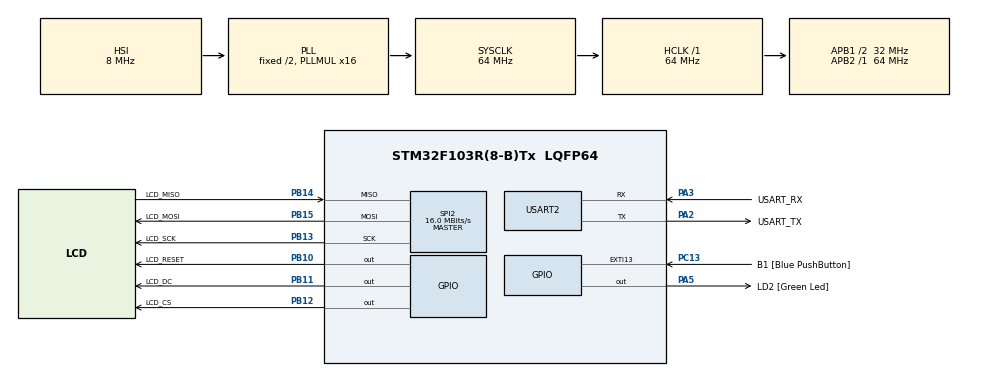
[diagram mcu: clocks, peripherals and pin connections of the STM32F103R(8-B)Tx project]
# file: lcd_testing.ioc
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Dma.Request0=SPI2_RX
Dma.Request1=SPI2_TX
Dma.SPI2_RX.0.Direction=DMA_PERIPH_TO_MEMORY
Dma.SPI2_RX.0.Instance=DMA1_Channel4
Dma.SPI2_RX.0.MemDataAlignment=DMA_MDATAALIGN_BYTE
Dma.SPI2_RX.0.MemInc=DMA_MINC_ENABLE
Dma.SPI2_RX.0.Mode=DMA_NORMAL
Dma.SPI2_RX.0.PeriphDataAlignment=DMA_PDATAALIGN_BYTE
Dma.SPI2_RX.0.PeriphInc=DMA_PINC_DISABLE
Dma.SPI2_RX.0.Priority=DMA_PRIORITY_MEDIUM
Dma.SPI2_TX.1.Direction=DMA_MEMORY_TO_PERIPH
Dma.SPI2_TX.1.Instance=DMA1_Channel5
Dma.SPI2_TX.1.MemDataAlignment=DMA_MDATAALIGN_BYTE
Dma.SPI2_TX.1.MemInc=DMA_MINC_ENABLE
Dma.SPI2_TX.1.Mode=DMA_NORMAL
Dma.SPI2_TX.1.PeriphDataAlignment=DMA_PDATAALIGN_BYTE
Dma.SPI2_TX.1.PeriphInc=DMA_PINC_DISABLE
Dma.SPI2_TX.1.Priority=DMA_PRIORITY_MEDIUM
Mcu.Family=STM32F1
Mcu.Name=STM32F103R(8-B)Tx
Mcu.Package=LQFP64
NVIC.DMA1_Channel4_IRQn=true\:0\:0\:false\:false\:true\:false\:true\:true
NVIC.DMA1_Channel5_IRQn=true\:0\:0\:false\:false\:true\:false\:true\:true
NVIC.EXTI15_10_IRQn=true\:0\:0\:false\:false\:true\:true\:true\:true
NVIC.PriorityGroup=NVIC_PRIORITYGROUP_4
PA13.GPIO_Label=TMS
PA13.Mode=Serial_Wire
PA13.Signal=SYS_JTMS-SWDIO
PA14.GPIO_Label=TCK
PA14.Mode=Serial_Wire
PA14.Signal=SYS_JTCK-SWCLK
PA2.GPIO_Label=USART_TX
PA2.GPIO_Mode=GPIO_MODE_AF_PP
PA2.GPIO_PuPd=GPIO_NOPULL
PA2.GPIO_Speed=GPIO_SPEED_FREQ_LOW
PA2.Mode=Asynchronous
PA2.Signal=USART2_TX
PA3.GPIO_Label=USART_RX
PA3.GPIO_Mode=GPIO_MODE_AF_PP
PA3.GPIO_PuPd=GPIO_NOPULL
PA3.GPIO_Speed=GPIO_SPEED_FREQ_LOW
PA3.Mode=Asynchronous
PA3.Signal=USART2_RX
PA5.GPIO_Label=LD2 [Green Led]
PA5.GPIO_ModeDefaultOutputPP=GPIO_MODE_OUTPUT_PP
PA5.GPIO_PuPd=GPIO_NOPULL
PA5.GPIO_Speed=GPIO_SPEED_FREQ_LOW
PA5.Signal=GPIO_Output
PB10.GPIO_Label=LCD_RESET
PB10.Signal=GPIO_Output
PB11.GPIO_Label=LCD_DC
PB11.Signal=GPIO_Output
PB12.GPIO_Label=LCD_CS
PB12.Signal=GPIO_Output
PB13.GPIO_Label=LCD_SCK
PB13.Mode=Full_Duplex_Master
PB13.Signal=SPI2_SCK
PB14.GPIO_Label=LCD_MISO
PB14.Mode=Full_Duplex_Master
PB14.Signal=SPI2_MISO
PB15.GPIO_Label=LCD_MOSI
PB15.Mode=Full_Duplex_Master
PB15.Signal=SPI2_MOSI
PB3.GPIO_Label=SWO
PB3.Signal=SYS_JTDO-TRACESWO
PC13-TAMPER-RTC.GPIO_Label=B1 [Blue PushButton]
PC13-TAMPER-RTC.GPIO_PuPd=GPIO_NOPULL
PC13-TAMPER-RTC.Signal=GPXTI13
PC14-OSC32_IN.Mode=LSE-External-Oscillator
PC14-OSC32_IN.Signal=RCC_OSC32_IN
PC15-OSC32_OUT.Mode=LSE-External-Oscillator
PC15-OSC32_OUT.Signal=RCC_OSC32_OUT
PD0-OSC_IN.Mode=HSE-External-Clock-Source
PD0-OSC_IN.Signal=RCC_OSC_IN
PD1-OSC_OUT.Mode=HSE-External-Clock-Source
PD1-OSC_OUT.Signal=RCC_OSC_OUT
ProjectManager.HeapSize=0x200
ProjectManager.StackSize=0x400
ProjectManager.TargetToolchain=STM32CubeIDE
RCC.AHBFreq_Value=64000000
RCC.APB1CLKDivider=RCC_HCLK_DIV2
RCC.APB1Freq_Value=32000000
RCC.APB1TimFreq_Value=64000000
RCC.APB2Freq_Value=64000000
RCC.APB2TimFreq_Value=64000000
RCC.HCLKFreq_Value=64000000
RCC.PLLMUL=RCC_PLL_MUL16
RCC.RTCClockSelection=RCC_RTCCLKSOURCE_LSE
RCC.SYSCLKFreq_VALUE=64000000
RCC.SYSCLKSource=RCC_SYSCLKSOURCE_PLLCLK
RCC.USBFreq_Value=64000000
SPI2.CalculateBaudRate=16.0 MBits/s
SPI2.Direction=SPI_DIRECTION_2LINES
SPI2.Mode=SPI_MODE_MASTER
SPI2.VirtualType=VM_MASTER
USART2.VirtualMode=VM_ASYNC
board=NUCLEO-F103RB

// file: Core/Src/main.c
/* USER CODE BEGIN Header */
/**
  ******************************************************************************
  * @file           : main.c
  * @brief          : Main program body
  ******************************************************************************
  * @attention
  *
  * Copyright (c) 2022 STMicroelectronics.
  * All rights reserved.
  *
  * This software is licensed under terms that can be found in the LICENSE file
  * in the root directory of this software component.
  * If no LICENSE file comes with this software, it is provided AS-IS.
  *
  ******************************************************************************
  */
/* USER CODE END Header */
#include "main.h"
#include "lcd_api.h"
#include "bmp.h"

 SPI_HandleTypeDef hspi2;
DMA_HandleTypeDef hdma_spi2_rx;
DMA_HandleTypeDef hdma_spi2_tx;

UART_HandleTypeDef huart2;

void SystemClock_Config(void);
static void MX_GPIO_Init(void);
static void MX_DMA_Init(void);
static void MX_USART2_UART_Init(void);
static void MX_SPI2_Init(void);

/* USER CODE BEGIN 0 */

extern const BITMAPSTRUCT back_icon;
extern const BITMAPSTRUCT batt_error_icon;
extern const BITMAPSTRUCT batt_warning_icon;
extern const BITMAPSTRUCT battery_icon;
extern const BITMAPSTRUCT drawers_icon;
extern const BITMAPSTRUCT enable_icon;
extern const BITMAPSTRUCT play_icon;
extern const BITMAPSTRUCT recording_icon;
extern const BITMAPSTRUCT thermostat_icon;
extern const BITMAPSTRUCT trash_icon;
/* USER CODE END 0 */

int main(void)
{

  /* MCU Configuration--------------------------------------------------------*/

  /* Reset of all peripherals, Initializes the Flash interface and the Systick. */
  HAL_Init();

  /* Configure the system clock */
  SystemClock_Config();

  /* Initialize all configured peripherals */
  MX_GPIO_Init();
  MX_DMA_Init();
  MX_USART2_UART_Init();
  MX_SPI2_Init();

  BSP_LCD_Init();
  /* USER CODE BEGIN 2 */

//  BSP_LCD_SetBackColor(0x55AA);
  // BSP_LCD_SetFont(&Font24);
  // BSP_LCD_DisplayStringAt(0, 0, "Hello LCD!", CENTER_MODE);

//  BSP_LCD_SetBackColor(LCD_COLOR_WHITE);
//  BSP_LCD_FillRect(0,0, BSP_LCD_GetXSize(), BSP_LCD_GetYSize());

  //BSP_LCD_DrawRect(BSP_LCD_GetXSize()/2, BSP_LCD_GetYSize()/2, battery_icon.infoHeader.biWidth + 2, battery_icon.infoHeader.biHeight + 2);
//  BSP_LCD_DrawHLine(BSP_LCD_GetXSize()/2 + 1, BSP_LCD_GetYSize()/2 + battery_icon.infoHeader.biHeight +1, battery_icon.infoHeader.biWidth);
//  BSP_LCD_DrawBitmap(BSP_LCD_GetXSize()/2 + 1 , BSP_LCD_GetYSize()/2 + 1, (uint8_t*)&battery_icon);

//  BSP_LCD_DrawBitmap(0  , 0, (uint8_t*)&back_icon);
//  HAL_Delay(1000);
  BSP_LCD_DrawBitmap(0  , 0, (uint8_t*)&batt_error_icon);
  HAL_Delay(1000);
  BSP_LCD_DrawBitmap(0  , 0, (uint8_t*)&batt_warning_icon);
  HAL_Delay(1000);
  BSP_LCD_DrawBitmap(0  , 0, (uint8_t*)&battery_icon);
  HAL_Delay(1000);
//  BSP_LCD_DrawBitmap(0  , 0, (uint8_t*)&drawers_icon);
//  HAL_Delay(1000);
  BSP_LCD_DrawBitmap(0  , 0, (uint8_t*)&enable_icon);
  HAL_Delay(1000);
  BSP_LCD_DrawBitmap(0  , 0, (uint8_t*)&play_icon);
  HAL_Delay(1000);
  BSP_LCD_DrawBitmap(0  , 0, (uint8_t*)&recording_icon);
  HAL_Delay(1000);
  BSP_LCD_DrawBitmap(0  , 0, (uint8_t*)&thermostat_icon);
  HAL_Delay(1000);
  BSP_LCD_DrawBitmap(0  , 0, (uint8_t*)&trash_icon);
  HAL_Delay(1000);

  /* USER CODE END 2 */

  /* Infinite loop */
  while (1)
  {

  }
}

void SystemClock_Config(void)
{
  RCC_OscInitTypeDef RCC_OscInitStruct = {0};
  RCC_ClkInitTypeDef RCC_ClkInitStruct = {0};

  /** Initializes the RCC Oscillators according to the specified parameters
  * in the RCC_OscInitTypeDef structure.
  */
  RCC_OscInitStruct.OscillatorType = RCC_OSCILLATORTYPE_HSI;
  RCC_OscInitStruct.HSIState = RCC_HSI_ON;
  RCC_OscInitStruct.HSICalibrationValue = RCC_HSICALIBRATION_DEFAULT;
  RCC_OscInitStruct.PLL.PLLState = RCC_PLL_ON;
  RCC_OscInitStruct.PLL.PLLSource = RCC_PLLSOURCE_HSI_DIV2;
  RCC_OscInitStruct.PLL.PLLMUL = RCC_PLL_MUL16;
  if (HAL_RCC_OscConfig(&RCC_OscInitStruct) != HAL_OK)
  {
    Error_Handler();
  }

  /** Initializes the CPU, AHB and APB buses clocks
  */
  RCC_ClkInitStruct.ClockType = RCC_CLOCKTYPE_HCLK|RCC_CLOCKTYPE_SYSCLK
                              |RCC_CLOCKTYPE_PCLK1|RCC_CLOCKTYPE_PCLK2;
  RCC_ClkInitStruct.SYSCLKSource = RCC_SYSCLKSOURCE_PLLCLK;
  RCC_ClkInitStruct.AHBCLKDivider = RCC_SYSCLK_DIV1;
  RCC_ClkInitStruct.APB1CLKDivider = RCC_HCLK_DIV2;
  RCC_ClkInitStruct.APB2CLKDivider = RCC_HCLK_DIV1;

  if (HAL_RCC_ClockConfig(&RCC_ClkInitStruct, FLASH_LATENCY_2) != HAL_OK)
  {
    Error_Handler();
  }
}

static void MX_SPI2_Init(void)
{

  /* SPI2 parameter configuration*/
  hspi2.Instance = SPI2;
  hspi2.Init.Mode = SPI_MODE_MASTER;
  hspi2.Init.Direction = SPI_DIRECTION_2LINES;
  hspi2.Init.DataSize = SPI_DATASIZE_8BIT;
  hspi2.Init.CLKPolarity = SPI_POLARITY_LOW;
  hspi2.Init.CLKPhase = SPI_PHASE_1EDGE;
  hspi2.Init.NSS = SPI_NSS_SOFT;
  hspi2.Init.BaudRatePrescaler = SPI_BAUDRATEPRESCALER_2;
  hspi2.Init.FirstBit = SPI_FIRSTBIT_MSB;
  hspi2.Init.TIMode = SPI_TIMODE_DISABLE;
  hspi2.Init.CRCCalculation = SPI_CRCCALCULATION_DISABLE;
  hspi2.Init.CRCPolynomial = 10;
  if (HAL_SPI_Init(&hspi2) != HAL_OK)
  {
    Error_Handler();
  }

}

static void MX_USART2_UART_Init(void)
{

  huart2.Instance = USART2;
  huart2.Init.BaudRate = 115200;
  huart2.Init.WordLength = UART_WORDLENGTH_8B;
  huart2.Init.StopBits = UART_STOPBITS_1;
  huart2.Init.Parity = UART_PARITY_NONE;
  huart2.Init.Mode = UART_MODE_TX_RX;
  huart2.Init.HwFlowCtl = UART_HWCONTROL_NONE;
  huart2.Init.OverSampling = UART_OVERSAMPLING_16;
  if (HAL_UART_Init(&huart2) != HAL_OK)
  {
    Error_Handler();
  }

}

static void MX_DMA_Init(void)
{

  /* DMA controller clock enable */
  __HAL_RCC_DMA1_CLK_ENABLE();

  /* DMA interrupt init */
  /* DMA1_Channel4_IRQn interrupt configuration */
  HAL_NVIC_SetPriority(DMA1_Channel4_IRQn, 0, 0);
  HAL_NVIC_EnableIRQ(DMA1_Channel4_IRQn);
  /* DMA1_Channel5_IRQn interrupt configuration */
  HAL_NVIC_SetPriority(DMA1_Channel5_IRQn, 0, 0);
  HAL_NVIC_EnableIRQ(DMA1_Channel5_IRQn);

}

static void MX_GPIO_Init(void)
{
  GPIO_InitTypeDef GPIO_InitStruct = {0};

  /* GPIO Ports Clock Enable */
  __HAL_RCC_GPIOC_CLK_ENABLE();
  __HAL_RCC_GPIOD_CLK_ENABLE();
  __HAL_RCC_GPIOA_CLK_ENABLE();
  __HAL_RCC_GPIOB_CLK_ENABLE();

  /*Configure GPIO pin Output Level */
  HAL_GPIO_WritePin(LD2_GPIO_Port, LD2_Pin, GPIO_PIN_RESET);

  /*Configure GPIO pin Output Level */
  HAL_GPIO_WritePin(GPIOB, LCD_RESET_Pin|LCD_DC_Pin|LCD_CS_Pin, GPIO_PIN_RESET);

  /*Configure GPIO pin : B1_Pin */
  GPIO_InitStruct.Pin = B1_Pin;
  GPIO_InitStruct.Mode = GPIO_MODE_IT_RISING;
  GPIO_InitStruct.Pull = GPIO_NOPULL;
  HAL_GPIO_Init(B1_GPIO_Port, &GPIO_InitStruct);

  /*Configure GPIO pin : LD2_Pin */
  GPIO_InitStruct.Pin = LD2_Pin;
  GPIO_InitStruct.Mode = GPIO_MODE_OUTPUT_PP;
  GPIO_InitStruct.Pull = GPIO_NOPULL;
  GPIO_InitStruct.Speed = GPIO_SPEED_FREQ_LOW;
  HAL_GPIO_Init(LD2_GPIO_Port, &GPIO_InitStruct);

  /*Configure GPIO pins : LCD_RESET_Pin LCD_DC_Pin LCD_CS_Pin */
  GPIO_InitStruct.Pin = LCD_RESET_Pin|LCD_DC_Pin|LCD_CS_Pin;
  GPIO_InitStruct.Mode = GPIO_MODE_OUTPUT_PP;
  GPIO_InitStruct.Pull = GPIO_NOPULL;
  GPIO_InitStruct.Speed = GPIO_SPEED_FREQ_LOW;
  HAL_GPIO_Init(GPIOB, &GPIO_InitStruct);

  /* EXTI interrupt init*/
  HAL_NVIC_SetPriority(EXTI15_10_IRQn, 0, 0);
  HAL_NVIC_EnableIRQ(EXTI15_10_IRQn);

}

void Error_Handler(void)
{
  __disable_irq();
  while (1)
  {
  }
}
